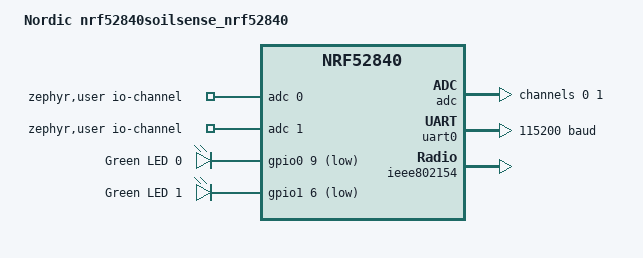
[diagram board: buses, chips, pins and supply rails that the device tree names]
/*
 * Copyright (c) 2017 Linaro Limited
 *
 * SPDX-License-Identifier: Apache-2.0
 */

/dts-v1/;
#include <nordic/nrf52840_qiaa.dtsi>
#include "nrf52840soilsense_nrf52840-pinctrl.dtsi"

/ {
	model = "Nordic nrf52840soilsense_nrf52840";
	compatible = "nordic,nrf52840-dk-nrf52840";

	chosen {
		zephyr,console = &uart0;
		zephyr,shell-uart = &uart0;
		zephyr,uart-mcumgr = &uart0;
		zephyr,bt-mon-uart = &uart0;
		zephyr,bt-c2h-uart = &uart0;
		zephyr,sram = &sram0;
		zephyr,flash = &flash0;
		zephyr,code-partition = &slot0_partition;
		zephyr,ieee802154 = &ieee802154;
	};
	
	zephyr,user {
		io-channels = <&adc 0>, <&adc 1>;
	};

	leds {
		compatible = "gpio-leds";
		led0: led_0 {
			gpios = <&gpio0 9 GPIO_ACTIVE_LOW>;
			label = "Green LED 0";
		};
		led1: led_1 {
			gpios = <&gpio1 6 GPIO_ACTIVE_LOW>;
			label = "Green LED 1";
		};
	};
	
	/* These aliases are provided for compatibility with samples */
	aliases {
		led0 = &led0;
		led1 = &led1;
		bootloader-led0 = &led0;
		mcuboot-led0 = &led0;
		watchdog0 = &wdt0;
	};
};


&adc {
	#address-cells = <1>;
	#size-cells = <0>;

	channel@0 {
		reg = <0>;
		zephyr,gain = "ADC_GAIN_1_6";
		zephyr,reference = "ADC_REF_INTERNAL";
		zephyr,acquisition-time = <ADC_ACQ_TIME_DEFAULT>;
		zephyr,input-positive = <NRF_SAADC_AIN0>; /* P0.02 */
		zephyr,resolution = <12>;
	};

	channel@1 {
		reg = <1>;
		zephyr,gain = "ADC_GAIN_1_6";
		zephyr,reference = "ADC_REF_INTERNAL";
		zephyr,acquisition-time = <ADC_ACQ_TIME_DEFAULT>;
		zephyr,input-positive = <NRF_SAADC_AIN1>; /* P0.03 */
		zephyr,resolution = <12>;
	};
};

&adc {
	status = "okay";
};


&gpiote {
	status = "okay";
};

&gpio0 {
	status = "okay";
};

&gpio1 {
	status = "okay";
};

&uart0 {
	compatible = "nordic,nrf-uarte";
	status = "okay";
	current-speed = <115200>;
	pinctrl-0 = <&uart0_default>;
	pinctrl-1 = <&uart0_sleep>;
	pinctrl-names = "default", "sleep";
};

&ieee802154 {
	status = "okay";
};

&flash0 {
	partitions {
		compatible = "fixed-partitions";
		#address-cells = <1>;
		#size-cells = <1>;

		boot_partition: partition@0 {
			label = "mcuboot";
			reg = <0x00000000 0x0000C000>;
		};
		slot0_partition: partition@c000 {
			label = "image-0";
			reg = <0x0000C000 0x00067000>;
		};
		slot1_partition: partition@73000 {
			label = "image-1";
			reg = <0x00073000 0x00067000>;
		};
		scratch_partition: partition@da000 {
			label = "image-scratch";
			reg = <0x000da000 0x0001e000>;
		};

		/*
		 * The flash starting at 0x000f8000 and ending at
		 * 0x000fffff is reserved for use by the application.
		 */

		/*
		 * Storage partition will be used by FCB/LittleFS/NVS
		 * if enabled.
		 */
		storage_partition: partition@f8000 {
			label = "storage";
			reg = <0x000f8000 0x00008000>;
		};
	};
};
